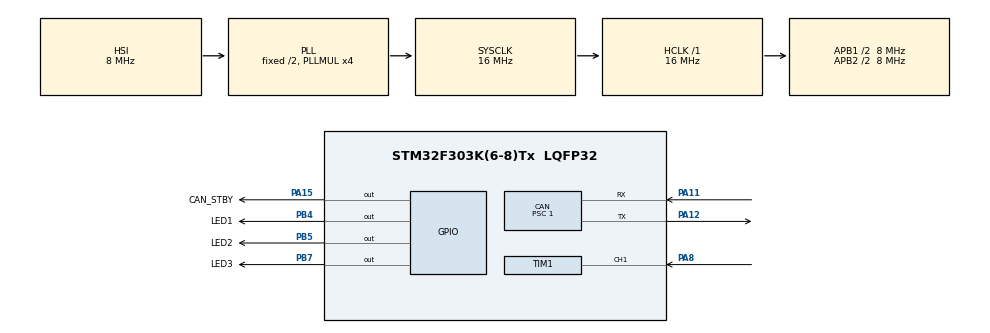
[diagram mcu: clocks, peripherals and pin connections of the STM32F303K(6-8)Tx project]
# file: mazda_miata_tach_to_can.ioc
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CAN.BS1=CAN_BS1_10TQ
CAN.BS2=CAN_BS2_5TQ
CAN.CalculateTimeQuantum=125.0
CAN.Mode=CAN_MODE_LOOPBACK
CAN.NART=ENABLE
CAN.Prescaler=1
Mcu.Family=STM32F3
Mcu.Name=STM32F303K(6-8)Tx
Mcu.Package=LQFP32
NVIC.PriorityGroup=NVIC_PRIORITYGROUP_4
NVIC.TIM1_BRK_TIM15_IRQn=true\:0\:0\:false\:false\:true\:true\:true
NVIC.TIM1_CC_IRQn=true\:0\:0\:false\:false\:true\:true\:true
NVIC.TIM1_UP_TIM16_IRQn=true\:0\:0\:false\:false\:true\:true\:true
PA11.Mode=Master
PA11.Signal=CAN_RX
PA12.Mode=Master
PA12.Signal=CAN_TX
PA13.GPIO_Label=SWDIO
PA13.Mode=Serial_Wire
PA13.Signal=SYS_JTMS-SWDIO
PA14.GPIO_Label=SWCLK
PA14.Mode=Serial_Wire
PA14.Signal=SYS_JTCK-SWCLK
PA15.GPIO_Label=CAN_STBY
PA15.PinState=GPIO_PIN_RESET
PA15.Signal=GPIO_Output
PA2.GPIO_Label=VCP_TX
PA2.Signal=USART2_TX
PA8.Signal=S_TIM1_CH1
PB4.GPIO_Label=LED1
PB4.GPIO_ModeDefaultOutputPP=GPIO_MODE_OUTPUT_PP
PB4.GPIO_PuPd=GPIO_NOPULL
PB4.GPIO_Speed=GPIO_SPEED_FREQ_LOW
PB4.PinState=GPIO_PIN_RESET
PB4.Signal=GPIO_Output
PB5.GPIO_Label=LED2
PB5.GPIO_ModeDefaultOutputPP=GPIO_MODE_OUTPUT_PP
PB5.GPIO_PuPd=GPIO_NOPULL
PB5.GPIO_Speed=GPIO_SPEED_FREQ_LOW
PB5.PinState=GPIO_PIN_RESET
PB5.Signal=GPIO_Output
PB7.GPIO_Label=LED3
PB7.GPIO_ModeDefaultOutputPP=GPIO_MODE_OUTPUT_PP
PB7.GPIO_PuPd=GPIO_NOPULL
PB7.GPIO_Speed=GPIO_SPEED_FREQ_LOW
PB7.PinState=GPIO_PIN_RESET
PB7.Signal=GPIO_Output
ProjectManager.HeapSize=0x200
ProjectManager.StackSize=0x400
ProjectManager.TargetToolchain=STM32CubeIDE
RCC.AHBFreq_Value=16000000
RCC.APB1CLKDivider=RCC_HCLK_DIV2
RCC.APB1Freq_Value=8000000
RCC.APB1TimFreq_Value=16000000
RCC.APB2CLKDivider=RCC_HCLK_DIV2
RCC.APB2Freq_Value=8000000
RCC.APB2TimFreq_Value=16000000
RCC.CortexFreq_Value=16000000
RCC.HCLKFreq_Value=16000000
RCC.HSE_VALUE=8000000
RCC.HSI_VALUE=8000000
RCC.PLLMUL=RCC_PLL_MUL4
RCC.SYSCLKFreq_VALUE=16000000
RCC.SYSCLKSourceVirtual=RCC_SYSCLKSOURCE_PLLCLK
SH.S_TIM1_CH1.0=TIM1_CH1,Input_Capture1_from_TI1
TIM1.AutoReloadPreload=TIM_AUTORELOAD_PRELOAD_DISABLE
TIM1.Channel-Input_Capture1_from_TI1=TIM_CHANNEL_1
TIM1.CounterMode=TIM_COUNTERMODE_UP
TIM1.Period=0xFFFF-1
TIM1.Prescaler=15
TIM16.Period=3597-1
TIM16.Prescaler=72-1
VP_TIM16_VS_ClockSourceINT.Mode=Enable_Timer
VP_TIM1_VS_ClockSourceINT.Mode=Internal
board=NUCLEO-F303K8

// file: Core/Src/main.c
/* USER CODE BEGIN Header */
/**
  ******************************************************************************
  * @file           : main.c
  * @brief          : Main program body
  ******************************************************************************
  * @attention
  *
  * <h2><center>&copy; Copyright (c) 2020 STMicroelectronics.
  * All rights reserved.</center></h2>
  *
  * This software component is licensed by ST under BSD 3-Clause license,
  * the "License"; You may not use this file except in compliance with the
  * License. You may obtain a copy of the License at:
  *                        opensource.org/licenses/BSD-3-Clause
  *
  ******************************************************************************
  */
/* USER CODE END Header */

#include "main.h"
#include "can.h"
#include "tim.h"
#include "gpio.h"

/* USER CODE BEGIN Includes */

#include "stdio.h"

/* USER CODE END Includes */

/* USER CODE BEGIN PTD */

#define RPM_TIM &htim1
#define RPM_TIM_UNITS 1000 /* milliseconds */

#define NUMBER_OF_CYLINDERS 4
#define ENGINE_CYL_FACTOR (NUMBER_OF_CYLINDERS / 2)
#define RPS2RPM 60 /* Rotations per second to Rotations per minute */

#define TIM_CALIBRATION 15

/* Set the arbitration ID here */
#define ENGINE_RPM_ARB_ID    0x090

/* USER CODE END PTD */

/* USER CODE BEGIN PV */

uint32_t pulse_t = 0;

uint32_t engine_rpm = 0;

CAN_TxHeaderTypeDef Header = {
        .DLC                = 8,
        .ExtId              = ENGINE_RPM_ARB_ID,
        .StdId              = ENGINE_RPM_ARB_ID,
        .IDE                = CAN_ID_STD,
        .RTR                = CAN_RTR_DATA,
        .TransmitGlobalTime = DISABLE
};

uint32_t blink = 0;
#define NORMAL_OPERATION 750
#define ERROR_MODE       100
uint32_t blink_rate = NORMAL_OPERATION;

/* USER CODE END PV */

void SystemClock_Config(void);

/* USER CODE BEGIN 0 */

HAL_StatusTypeDef can_filter( CAN_HandleTypeDef *pcan, uint32_t id, uint32_t mask, uint32_t format, uint32_t filterBank, uint32_t FIFO  )
{
    if ( (format == CAN_ID_STD) || (format == CAN_ID_EXT) )
    {
        /** Declare a CAN filter configuration */
        CAN_FilterTypeDef  sFilterConfig;

        /** Verify the filter bank is possible */
        if ( (filterBank >= 0) && (filterBank <= 13) )
            sFilterConfig.FilterBank = filterBank;
        else
            return -1;

        sFilterConfig.FilterMode = CAN_FILTERMODE_IDMASK;
        sFilterConfig.FilterScale = CAN_FILTERSCALE_32BIT;

        if (format == CAN_ID_STD) {
            sFilterConfig.FilterIdHigh = ((id << 5) | (id >> (32 - 5))) & 0xFFFF;
            sFilterConfig.FilterIdLow =  (id >> (11-3)) & 0xFFF8;
            sFilterConfig.FilterMaskIdHigh = ((mask << 5) | (mask >> (32-5))) & 0xFFFF;
            sFilterConfig.FilterMaskIdLow = (mask >> (11-3)) & 0xFFF8;
        } else { // format == CANExtended
            sFilterConfig.FilterIdHigh = id >> 13; // EXTID[28:13]
            sFilterConfig.FilterIdLow = (0xFFFF & (id << 3)) | (1 << 2); // EXTID[12:0] + IDE
            sFilterConfig.FilterMaskIdHigh = mask >> 13;
            sFilterConfig.FilterMaskIdLow = (0xFFFF & (mask << 3)) | (1 << 2);
        }

        sFilterConfig.FilterFIFOAssignment = FIFO;
        sFilterConfig.FilterActivation = ENABLE;
        sFilterConfig.FilterBank = filterBank;
        sFilterConfig.SlaveStartFilterBank = 0x12;

        return HAL_CAN_ConfigFilter(pcan, &sFilterConfig);
    }
    return HAL_ERROR;
}

static uint8_t Engine_RPM_Tx_CAN_Bus()
{
    uint32_t pTxMailbox = 0;

    uint8_t tx_buf[8];

    /* Create your custom payload here */
    tx_buf[0] = 0x03;
    tx_buf[1] = 0x41;
    tx_buf[2] = 0x0C;
    tx_buf[3] = 0x12;
    tx_buf[4] = (uint8_t)(((engine_rpm) >> 8) & 0xFF);
    tx_buf[5] = (uint8_t)((engine_rpm) & 0xFF);
    tx_buf[6] = 0xff;
    tx_buf[7] = 0xff;

    if( HAL_CAN_AddTxMessage( &hcan, &Header, tx_buf, &pTxMailbox ) == HAL_OK )
        return 1;
    else
        return 0;
}

/* USER CODE END 0 */

int main(void)
{

  /* MCU Configuration--------------------------------------------------------*/

  /* Reset of all peripherals, Initializes the Flash interface and the Systick. */
  HAL_Init();

  /* Configure the system clock */
  SystemClock_Config();

  /* Initialize all configured peripherals */
  MX_GPIO_Init();
  MX_TIM1_Init();
  MX_TIM16_Init();
  MX_CAN_Init();
  /* USER CODE BEGIN 2 */

  HAL_TIM_IC_Start_IT( RPM_TIM,  TIM_CHANNEL_1 );

  if( can_filter( &hcan, 0x090, 0x7FF, CAN_ID_STD, 0, CAN_FILTER_FIFO0 ) != HAL_OK )
      Error_Handler();

  if( HAL_CAN_Start( &hcan ) != HAL_OK )
      Error_Handler();

  /* USER CODE END 2 */

  /* Infinite loop */
  /* USER CODE BEGIN WHILE */
  while (1)
  {

      if( HAL_GetTick() > blink )
      {
          blink = HAL_GetTick() + blink_rate;
          HAL_GPIO_TogglePin(LED1_GPIO_Port, LED1_Pin);
      }
      //Engine_RPM_Tx_CAN_Bus();
      //HAL_Delay(100);
    /* USER CODE END WHILE */

  }
}

void SystemClock_Config(void)
{
  RCC_OscInitTypeDef RCC_OscInitStruct = {0};
  RCC_ClkInitTypeDef RCC_ClkInitStruct = {0};
  RCC_PeriphCLKInitTypeDef PeriphClkInit = {0};

  /** Initializes the CPU, AHB and APB busses clocks
  */
  RCC_OscInitStruct.OscillatorType = RCC_OSCILLATORTYPE_HSI;
  RCC_OscInitStruct.HSIState = RCC_HSI_ON;
  RCC_OscInitStruct.HSICalibrationValue = RCC_HSICALIBRATION_DEFAULT;
  RCC_OscInitStruct.PLL.PLLState = RCC_PLL_ON;
  RCC_OscInitStruct.PLL.PLLSource = RCC_PLLSOURCE_HSI;
  RCC_OscInitStruct.PLL.PLLMUL = RCC_PLL_MUL4;
  if (HAL_RCC_OscConfig(&RCC_OscInitStruct) != HAL_OK)
  {
    Error_Handler();
  }
  /** Initializes the CPU, AHB and APB busses clocks
  */
  RCC_ClkInitStruct.ClockType = RCC_CLOCKTYPE_HCLK|RCC_CLOCKTYPE_SYSCLK
                              |RCC_CLOCKTYPE_PCLK1|RCC_CLOCKTYPE_PCLK2;
  RCC_ClkInitStruct.SYSCLKSource = RCC_SYSCLKSOURCE_PLLCLK;
  RCC_ClkInitStruct.AHBCLKDivider = RCC_SYSCLK_DIV1;
  RCC_ClkInitStruct.APB1CLKDivider = RCC_HCLK_DIV2;
  RCC_ClkInitStruct.APB2CLKDivider = RCC_HCLK_DIV2;

  if (HAL_RCC_ClockConfig(&RCC_ClkInitStruct, FLASH_LATENCY_0) != HAL_OK)
  {
    Error_Handler();
  }
  PeriphClkInit.PeriphClockSelection = RCC_PERIPHCLK_TIM1;
  PeriphClkInit.Tim1ClockSelection = RCC_TIM1CLK_HCLK;
  if (HAL_RCCEx_PeriphCLKConfig(&PeriphClkInit) != HAL_OK)
  {
    Error_Handler();
  }
}

/* USER CODE BEGIN 4 */

char msg[64];
uint32_t len = 0;

void HAL_TIM_IC_CaptureCallback( TIM_HandleTypeDef *htim )
{
    if ( htim == RPM_TIM )
    {
        /* Clear count */
        __HAL_TIM_SET_COUNTER(htim, 0);

        pulse_t = HAL_TIM_ReadCapturedValue(htim, TIM_CHANNEL_1) + TIM_CALIBRATION;
        if( pulse_t > 0 )
        {
           engine_rpm = 30000000 / pulse_t;
           Engine_RPM_Tx_CAN_Bus();
        }
    }
}

/* USER CODE END 4 */

void Error_Handler(void)
{
  /* USER CODE BEGIN Error_Handler_Debug */
  blink_rate = ERROR_MODE;
  /* User can add his own implementation to report the HAL error return state */

  /* USER CODE END Error_Handler_Debug */
}

/************************ (C) COPYRIGHT STMicroelectronics *****END OF FILE****/
